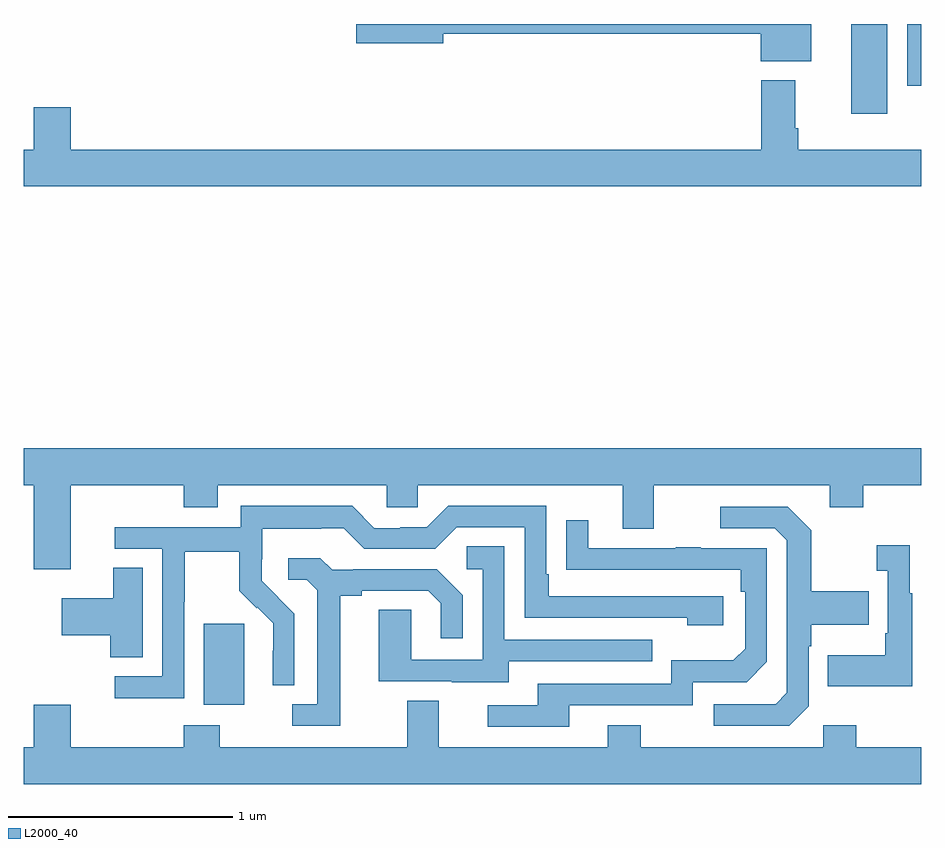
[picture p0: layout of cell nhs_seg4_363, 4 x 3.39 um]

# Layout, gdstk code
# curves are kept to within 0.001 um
import gdstk
lib = gdstk.Library(unit=1e-6, precision=1e-09)
def R(c, l, rs):  # rectangles x0, y0, x1, y1
    for r in rs: c.add(gdstk.rectangle(r[:2], r[2:], *l))
def P(c, l, *ps):  # polygons
    for p in ps: c.add(gdstk.Polygon(p, *l))
L2000_40 = (2000, 40)

nhs_seg4_363 = lib.new_cell('nhs_seg4_363')
R(nhs_seg4_363, L2000_40, [(129.803,771.866,129.982,772.227), (132.689,774.501,132.85,774.9), (132.938,774.624,133,774.9)])
P(nhs_seg4_363, L2000_40, [(132.511,774.9),(130.482,774.9),(130.482,774.814),(130.87,774.814),(130.87,774.856),(132.284,774.856),(132.284,774.734),(132.511,774.734)],
  [(133,774.34),(132.452,774.34),(132.452,774.436),(132.439,774.436),(132.439,774.649),(132.287,774.649),(132.287,774.34),(129.208,774.34),(129.208,774.529),(129.044,774.529),(129.044,774.34),(129,774.34),(129,774.176),(133,774.176)],
  [(129.208,772.844),(129.713,772.844),(129.713,772.745),(129.865,772.745),(129.865,772.844),(130.617,772.844),(130.617,772.746),(130.755,772.746),(130.755,772.844),(131.669,772.844),(131.669,772.65),(131.809,772.65),(131.809,772.844),(132.593,772.844),(132.593,772.745),(132.741,772.745),(132.741,772.844),(133,772.844),(133,773.008),(129,773.008),(129,772.844),(129.044,772.844),(129.044,772.47),(129.208,772.47)],
  [(129.714,772.324),(129.717,772.324),(129.717,772.548),(129.961,772.548),(129.961,772.373),(130.038,772.296),(130.041,772.299),(130.112,772.229),(130.112,772.106),(130.11,772.106),(130.11,771.952),(130.206,771.952),(130.206,772.27),(130.06,772.418),(130.06,772.515),(130.062,772.515),(130.062,772.649),(130.325,772.649),(130.325,772.653),(130.425,772.653),(130.518,772.56),(130.833,772.56),(130.929,772.656),(131.232,772.656),(131.232,772.254),(131.957,772.254),(131.957,772.22),(132.118,772.22),(132.118,772.35),(131.341,772.35),(131.341,772.447),(131.328,772.447),(131.328,772.752),(130.893,772.752),(130.797,772.656),(130.679,772.656),(130.679,772.653),(130.563,772.653),(130.463,772.753),(129.966,772.753),(129.966,772.656),(129.405,772.656),(129.405,772.56),(129.618,772.56),(129.618,771.993),(129.405,771.993),(129.405,771.895),(129.714,771.895)],
  [(132.498,771.858),(132.498,772.127),(132.511,772.127),(132.511,772.223),(132.767,772.223),(132.767,772.371),(132.511,772.371),(132.511,772.643),(132.405,772.749),(132.105,772.749),(132.105,772.653),(132.348,772.653),(132.402,772.599),(132.402,771.918),(132.351,771.867),(132.075,771.867),(132.075,771.771),(132.411,771.771)],
  [(131.431,771.864),(131.982,771.864),(131.982,771.966),(132.222,771.966),(132.312,772.056),(132.312,772.563),(132.017,772.563),(132.017,772.568),(131.905,772.568),(131.905,772.563),(131.515,772.563),(131.515,772.687),(131.419,772.687),(131.419,772.468),(132.196,772.467),(132.196,772.37),(132.216,772.37),(132.216,772.116),(132.163,772.063),(131.886,772.063),(131.886,771.96),(131.291,771.96),(131.291,771.864),(131.067,771.864),(131.067,771.768),(131.431,771.768)],
  [(132.961,772.363),(132.949,772.363),(132.949,772.576),(132.801,772.576),(132.801,772.463),(132.852,772.463),(132.852,772.183),(132.84,772.183),(132.84,772.087),(132.583,772.087),(132.583,771.947),(132.961,771.947)],
  [(131.161,772.059),(131.801,772.059),(131.801,772.155),(131.142,772.155),(131.142,772.571),(130.974,772.571),(130.974,772.47),(131.046,772.47),(131.046,772.065),(130.728,772.065),(130.728,772.289),(130.583,772.289),(130.583,771.969),(130.907,771.969),(130.907,771.965),(131.161,771.965)],
  [(130.411,772.352),(130.507,772.352),(130.507,772.374),(130.802,772.374),(130.859,772.317),(130.859,772.161),(130.956,772.161),(130.956,772.354),(130.84,772.47),(130.468,772.47),(130.468,772.467),(130.374,772.467),(130.322,772.519),(130.179,772.519),(130.179,772.422),(130.26,772.422),(130.307,772.375),(130.307,771.867),(130.197,771.867),(130.197,771.771),(130.411,771.771)],
  [(129.529,772.475),(129.398,772.475),(129.398,772.339),(129.168,772.339),(129.168,772.174),(129.386,772.174),(129.386,772.078),(129.529,772.078)],
  [(133,771.676),(132.711,771.676),(132.711,771.775),(132.564,771.775),(132.564,771.676),(131.751,771.676),(131.751,771.775),(131.603,771.775),(131.603,771.676),(130.849,771.676),(130.849,771.884),(130.709,771.884),(130.709,771.676),(129.873,771.676),(129.873,771.775),(129.713,771.775),(129.713,771.676),(129.208,771.676),(129.208,771.865),(129.044,771.865),(129.044,771.676),(129,771.676),(129,771.512),(133,771.512)])

lib.write_gds('nhs_seg4_363.gds')
